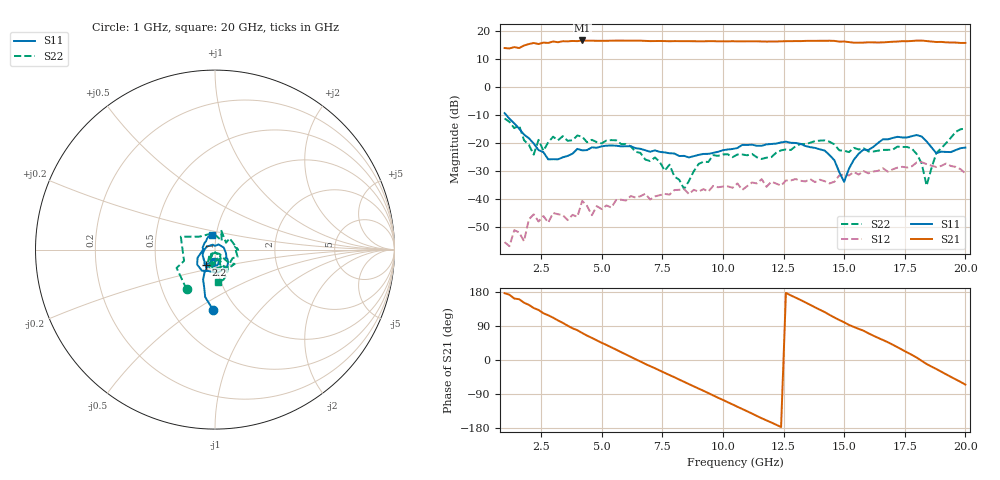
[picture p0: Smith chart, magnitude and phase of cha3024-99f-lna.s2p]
! reference: https://www.microwaves101.com/encyclopedias/snp-format
!United Monolithic Semiconductors
!Route Départementale 128, B.P.46
!91401
!ORSAY Cedex
!FRANCE
!Tel. +33 (0)1 69 33 03 08
!Fax +33 (0)1 69 33 03 09
!e.mail This email address is being protected from spambots. You need JavaScript enabled to view it.
!Device: CHA3024-99F, LNA
!features: 2-22GHz, 17dB Gain, 3.5dB NF
!Option: Vd=5V, Vg2=1.7V, Idq=100mA, Temp. 25°C (high gain)
!Ref. On wafer measurement
!F(GHz) dBS11 PhS11 dBS21 PhS21 dBS12 PhS12 dBS22 PhS22
# GHZ S DB R 50
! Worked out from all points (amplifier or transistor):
!   96 points, 1 GHz to 20 GHz, reference 50 ohm
!   highest |S21| = 16.5 dB at 4.2 GHz (marker M1)
!   |S21| within 3 dB of that: start of sweep to end of sweep
!   unconditionally stable (mu >= 1): start of sweep to end of sweep
!   at 4.2 GHz: K = 7.94, MAG = 16.6 dB, |S12| = -40.6 dB
!   at 10.6 GHz: K = 4.11, MAG = 16.2 dB, |S12| = -34.4 dB
!   at 20 GHz: K = 2.87, MAG = 15.8 dB, |S12| = -30.8 dB
!   S11 on the Smith chart (normalised r, x): 1 GHz: 0.78, -0.60; 2.2 GHz: 0.89, -0.15; 20 GHz: 0.95, +0.15
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1  -9.39 -91.5  13.78 176.2  -55.33 137.7  -11.31 -125.5
1.6  -14.95 -111.8  13.77 160.4  -51.85 75.6  -13.82 159.3
2.2  -20.22 -121.0  15.58 137.2  -45.43 84.2  -24.17 52.5
3.4  -25.12 -78.0  16.21 98.0  -45.72 1.5  -17.59 -17.6
4.2  -22.65 -75.1  16.48 71.2  -40.65 1.4  -17.80 -59.2
5.8  -21.22 -94.3  16.43 20.8  -40.21 -31.9  -20.38 -100.7
6.6  -22.11 -104.7  16.40 -4.0  -38.98 -67.5  -23.54 -123.1
7.4  -23.20 -106.3  16.29 -27.9  -38.60 -79.1  -26.77 -116.2
9  -24.26 -90.1  16.19 -75.5  -37.32 -130.9  -27.48 -55.2
9.6  -23.55 -90.5  16.23 -93.5  -35.31 -138.4  -24.34 -57.7
10.6  -21.81 -90.8  16.16 -123.5  -34.42 -162.4  -24.13 -73.5
11.4  -21.01 -101.2  16.18 -147.7  -34.42 177.1  -25.11 -84.2
12.4  -19.81 -110.7  16.18 -177.0  -35.20 150.9  -22.65 -63.9
13  -20.02 -124.2  16.26 164.6  -32.87 145.0  -21.18 -70.6
13.8  -21.77 -139.8  16.34 139.0  -33.95 126.2  -19.33 -85.5
14.4  -24.34 -177.0  16.38 119.0  -34.43 114.2  -19.59 -106.6
15  -33.85 93.3  16.09 99.5  -31.18 99.0  -22.76 -102.0
16  -22.52 -38.0  15.83 70.5  -30.84 70.2  -23.02 -103.7
17  -18.24 -72.0  16.02 40.5  -29.42 45.9  -22.43 -91.7
18.2  -17.74 -140.1  16.44 -2.4  -26.86 -4.5  -27.36 -118.3
19  -23.12 170.6  15.96 -30.7  -28.20 -36.3  -21.94 -44.9
20  -21.66 102.3  15.60 -64.9  -30.83 -66.4  -14.89 -84.7
